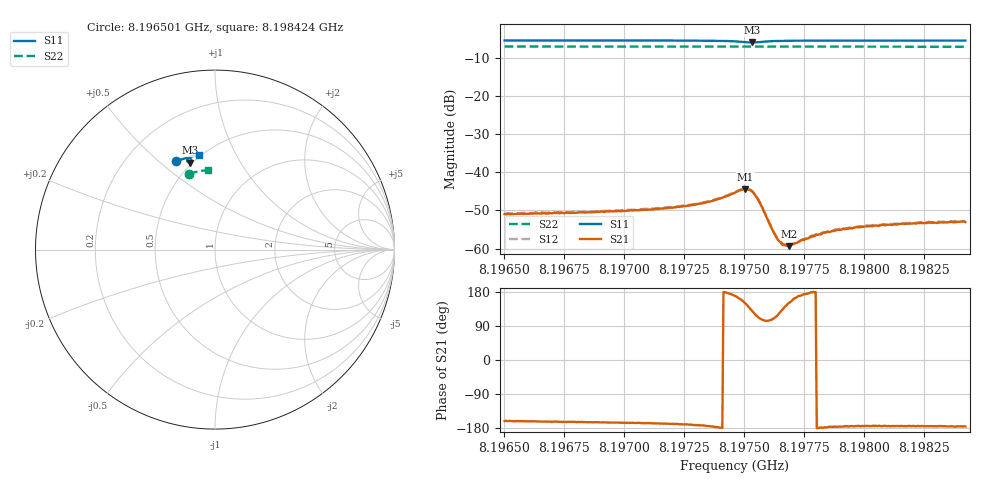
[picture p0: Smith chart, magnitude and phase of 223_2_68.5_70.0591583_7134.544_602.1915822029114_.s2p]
#  HZ  S  RI  R  50.00
! Rohde & Schwarz Vector Network Analyzer
! Rohde-Schwarz,ZNB20-2Port,1311601062101988,3.16
! Created: UTC 3/20/2024, 5:13:44 PM
! freq[Hz]  re:S11  im:S11  re:S21  im:S21  re:S12  im:S12  re:S22  im:S22
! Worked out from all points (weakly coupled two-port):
!   401 points, 8.196501 GHz to 8.198424 GHz, reference 50 ohm
!   highest |S21| = -44.41 dB at 8.197506 GHz (marker M1); lowest = -59.4 dB at 8.197688 GHz (marker M2)
!   lowest |S11| = -5.9 dB at 8.197534 GHz (marker M3), VSWR 3.04, Z = 24.3 + j31.6 ohm
!   |S11| at or under -10 dB: nowhere
!   |S22| runs from -7.1 to -7.0 dB; largest |S21 - S12| = 0.00028
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8.1965012e9  -0.2151 0.4914  -0.00269 -0.000901  -0.00277 -0.000845  -0.1455 0.4229
8.1968232e9  -0.1931 0.5002  -0.00285 -0.000848  -0.00294 -0.000711  -0.1282 0.4278
8.1971452e9  -0.1696 0.5077  -0.00324 -0.000726  -0.00334 -0.000606  -0.1104 0.4321
8.1973182e9  -0.1541 0.5105  -0.00386 -0.000517  -0.00394 -0.000365  -0.1008 0.4341
8.1973999e9  -0.1443 0.5099  -0.00451 -0.000124  -0.0046 8.63e-05  -0.0962 0.4349
8.1974624e9  -0.1349 0.5043  -0.00532 0.00102  -0.00538 0.00127  -0.0925 0.4353
8.1975057e9  -0.1325 0.4924  -0.00518 0.00308  -0.00519 0.00336  -0.0903 0.4356
8.1975201e9  -0.1353 0.4876  -0.00451 0.00384  -0.00448 0.00409  -0.0895 0.4356
8.1975345e9  -0.1408 0.4848  -0.00351 0.00434  -0.00339 0.00455  -0.0888 0.4355
8.1975489e9  -0.1468 0.485  -0.00235 0.00428  -0.00226 0.00447  -0.0883 0.4359
8.1975633e9  -0.1516 0.4879  -0.00146 0.00384  -0.00137 0.00401  -0.0876 0.4361
8.1976162e9  -0.1545 0.5019  -0.000507 0.00174  -0.000451 0.00177  -0.0849 0.4369
8.1976402e9  -0.1523 0.5059  -0.000627 0.00116  -0.000609 0.00123  -0.0832 0.4372
8.1976643e9  -0.1497 0.509  -0.000807 0.000797  -0.000773 0.00079  -0.082 0.4377
8.1976883e9  -0.1473 0.511  -0.000936 0.000532  -0.000979 0.000592  -0.0807 0.4378
8.1977219e9  -0.1438 0.5132  -0.00116 0.000283  -0.00115 0.000307  -0.0789 0.438
8.1977844e9  -0.1377 0.516  -0.00146 3.53e-05  -0.00148 0.000124  -0.0751 0.4385
8.1978373e9  -0.1331 0.5176  -0.00163 -7.13e-05  -0.00163 5.21e-06  -0.0722 0.439
8.1979142e9  -0.1268 0.5195  -0.00183 -0.000133  -0.00179 -9e-05  -0.0679 0.4396
8.1980103e9  -0.1193 0.5215  -0.00194 -0.000208  -0.00201 -0.000133  -0.0625 0.4402
8.1981064e9  -0.1121 0.5231  -0.00204 -0.000202  -0.00207 -0.000159  -0.0572 0.4408
8.1984236e9  -0.0889 0.5273  -0.00222 -0.000175  -0.00231 -7.51e-05  -0.0391 0.4422
